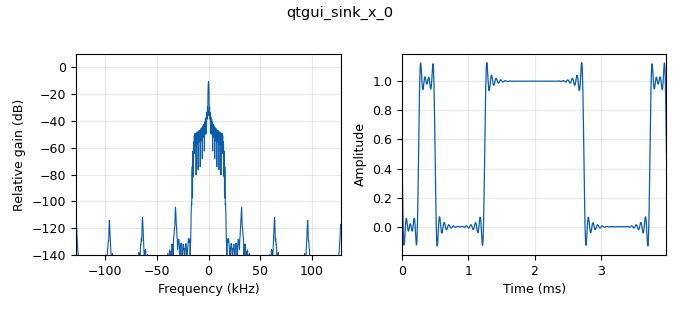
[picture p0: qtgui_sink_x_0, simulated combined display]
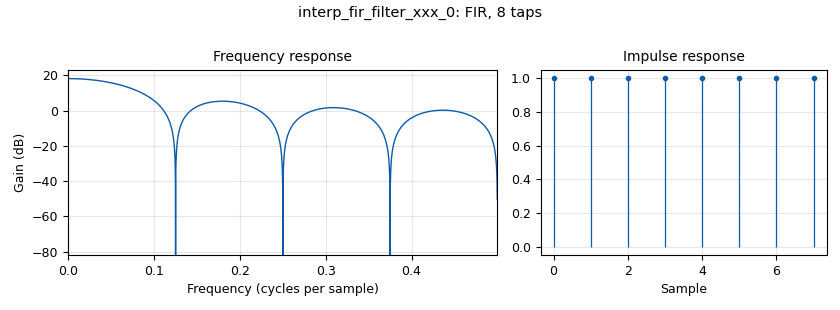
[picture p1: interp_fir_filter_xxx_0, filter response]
options:
  parameters:
    generate_options: qt_gui
    id: ejeclase
    output_language: python
    title: ejeclace
  states: {}

blocks:
- name: Sps
  id: variable
  parameters:
    value: len(h)
  states: {}
- name: h
  id: variable
  parameters:
    value: (1,1,1,1,1,1,1,1)
  states: {}
- name: samp_rate
  id: variable
  parameters:
    value: '32000'
  states: {}
- name: samp_rate_dac
  id: variable
  parameters:
    value: samp_rate*8
  states: {}
- name: analog_random_source_x_0
  id: analog_random_source_x
  parameters:
    max: '2'
    min: '0'
    num_samps: '1000'
    repeat: 'True'
    type: byte
  states: {}
- name: blocks_char_to_float_0
  id: blocks_char_to_float
  parameters:
    scale: '1'
  states: {}
- name: interp_fir_filter_xxx_0
  id: interp_fir_filter_xxx
  parameters:
    interp: Sps
    taps: h
    type: fff
  states: {}
- name: qtgui_sink_x_0
  id: qtgui_sink_x
  parameters:
    bw: samp_rate_dac
    fc: '0'
    fftsize: '1024'
    type: float
  states: {}
- name: rational_resampler_xxx_0
  id: rational_resampler_xxx
  parameters:
    decim: '1'
    interp: '8'
    type: fff
  states: {}

connections:
- [analog_random_source_x_0, '0', blocks_char_to_float_0, '0']
- [blocks_char_to_float_0, '0', interp_fir_filter_xxx_0, '0']
- [interp_fir_filter_xxx_0, '0', rational_resampler_xxx_0, '0']
- [rational_resampler_xxx_0, '0', qtgui_sink_x_0, '0']

metadata:
  file_format: 1
